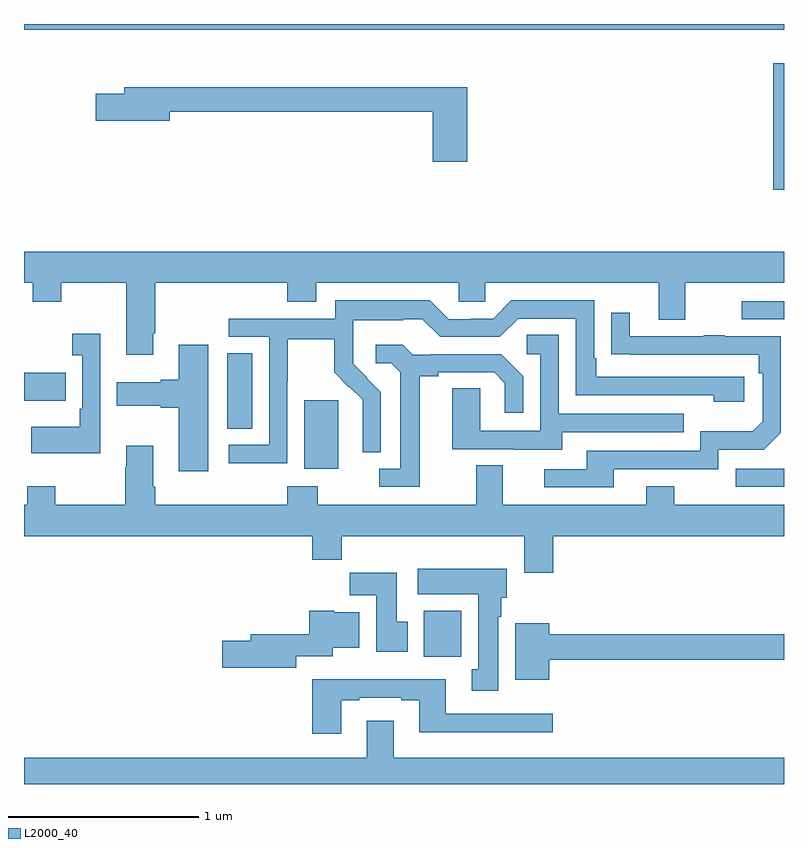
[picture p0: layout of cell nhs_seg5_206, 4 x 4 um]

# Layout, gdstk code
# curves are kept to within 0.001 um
import gdstk
lib = gdstk.Library(unit=1e-6, precision=1e-09)
def R(c, l, rs):  # rectangles x0, y0, x1, y1
    for r in rs: c.add(gdstk.rectangle(r[:2], r[2:], *l))
def P(c, l, *ps):  # polygons
    for p in ps: c.add(gdstk.Polygon(p, *l))
L2000_40 = (2000, 40)

nhs_seg5_206 = lib.new_cell('nhs_seg5_206')
R(nhs_seg5_206, L2000_40, [(125.105,845.468,125.302,845.71), (126.747,846.363,127,846.459), (124.475,846.458,124.654,846.819), (124.07,846.67,124.201,847.067), (123,846.815,123.221,846.963), (126.777,847.245,127,847.341), (126.944,847.926,127,848.593), (123,848.768,127,848.799)])
P(nhs_seg5_206, L2000_40, [(125.333,848.467),(123.527,848.467),(123.527,848.433),(123.378,848.433),(123.378,848.291),(123.766,848.291),(123.766,848.338),(125.15,848.338),(125.15,848.073),(125.333,848.073)],
  [(123.679,847.171),(123.692,847.171),(123.692,847.436),(124.385,847.436),(124.385,847.337),(124.537,847.337),(124.537,847.436),(125.289,847.436),(125.289,847.338),(125.427,847.338),(125.427,847.436),(126.341,847.436),(126.341,847.242),(126.481,847.242),(126.481,847.436),(127,847.436),(127,847.6),(123,847.6),(123,847.436),(123.047,847.436),(123.047,847.337),(123.195,847.337),(123.195,847.436),(123.539,847.436),(123.539,847.059),(123.679,847.059)],
  [(124.386,846.916),(124.389,846.916),(124.389,847.14),(124.633,847.14),(124.633,846.965),(124.71,846.888),(124.713,846.891),(124.784,846.821),(124.784,846.698),(124.782,846.698),(124.782,846.544),(124.878,846.544),(124.878,846.862),(124.732,847.01),(124.732,847.107),(124.734,847.107),(124.734,847.241),(124.997,847.241),(124.997,847.245),(125.097,847.245),(125.19,847.152),(125.505,847.152),(125.601,847.248),(125.904,847.248),(125.904,846.846),(126.629,846.846),(126.629,846.812),(126.79,846.812),(126.79,846.942),(126.013,846.942),(126.013,847.039),(126,847.039),(126,847.344),(125.565,847.344),(125.469,847.248),(125.351,847.248),(125.351,847.245),(125.235,847.245),(125.135,847.345),(124.638,847.345),(124.638,847.248),(124.077,847.248),(124.077,847.152),(124.29,847.152),(124.29,846.585),(124.077,846.585),(124.077,846.487),(124.386,846.487)],
  [(126.103,846.456),(126.654,846.456),(126.654,846.558),(126.894,846.558),(126.984,846.648),(126.984,847.155),(126.689,847.155),(126.689,847.16),(126.577,847.16),(126.577,847.155),(126.187,847.155),(126.187,847.279),(126.091,847.279),(126.091,847.06),(126.868,847.059),(126.868,846.962),(126.888,846.962),(126.888,846.708),(126.835,846.655),(126.558,846.655),(126.558,846.552),(125.963,846.552),(125.963,846.456),(125.739,846.456),(125.739,846.36),(126.103,846.36)],
  [(123.402,847.168),(123.255,847.168),(123.255,847.055),(123.306,847.055),(123.306,846.775),(123.294,846.775),(123.294,846.679),(123.037,846.679),(123.037,846.539),(123.402,846.539)],
  [(125.833,846.651),(126.473,846.651),(126.473,846.747),(125.814,846.747),(125.814,847.163),(125.646,847.163),(125.646,847.062),(125.718,847.062),(125.718,846.657),(125.4,846.657),(125.4,846.881),(125.255,846.881),(125.255,846.561),(125.579,846.561),(125.579,846.557),(125.833,846.557)],
  [(123.97,847.111),(123.815,847.111),(123.815,846.926),(123.719,846.926),(123.719,846.913),(123.489,846.913),(123.489,846.791),(123.719,846.791),(123.719,846.779),(123.815,846.779),(123.815,846.444),(123.97,846.444)],
  [(125.083,846.944),(125.179,846.944),(125.179,846.966),(125.474,846.966),(125.531,846.909),(125.531,846.753),(125.628,846.753),(125.628,846.946),(125.512,847.062),(125.14,847.062),(125.14,847.059),(125.046,847.059),(124.994,847.111),(124.851,847.111),(124.851,847.014),(124.932,847.014),(124.979,846.967),(124.979,846.459),(124.869,846.459),(124.869,846.363),(125.083,846.363)],
  [(125.786,846.104),(127,846.104),(127,846.268),(126.423,846.268),(126.423,846.367),(126.275,846.367),(126.275,846.268),(125.521,846.268),(125.521,846.476),(125.381,846.476),(125.381,846.268),(124.545,846.268),(124.545,846.367),(124.385,846.367),(124.385,846.268),(123.692,846.268),(123.692,846.364),(123.679,846.364),(123.679,846.58),(123.539,846.58),(123.539,846.467),(123.532,846.467),(123.532,846.268),(123.165,846.268),(123.165,846.367),(123.018,846.367),(123.018,846.268),(123,846.268),(123,846.104),(124.517,846.104),(124.517,845.98),(124.673,845.98),(124.673,846.104),(125.633,846.104),(125.633,845.91),(125.786,845.91)],
  [(125.497,845.678),(125.512,845.678),(125.512,845.778),(125.542,845.778),(125.542,845.932),(125.073,845.932),(125.073,845.798),(125.39,845.798),(125.39,845.402),(125.357,845.402),(125.357,845.289),(125.497,845.289)],
  [(125.02,845.652),(124.963,845.652),(124.963,845.911),(124.714,845.911),(124.714,845.792),(124.853,845.792),(124.853,845.496),(125.02,845.496)],
  [(124.432,845.472),(124.624,845.472),(124.624,845.516),(124.765,845.516),(124.765,845.704),(124.632,845.704),(124.632,845.71),(124.502,845.71),(124.502,845.588),(124.193,845.588),(124.193,845.552),(124.044,845.552),(124.044,845.41),(124.432,845.41)],
  [(125.764,845.452),(127,845.452),(127,845.588),(125.764,845.588),(125.764,845.644),(125.585,845.644),(125.585,845.348),(125.764,845.348)],
  [(124.669,845.241),(124.765,845.241),(124.765,845.253),(124.985,845.253),(124.985,845.241),(125.081,845.241),(125.081,845.072),(125.782,845.072),(125.782,845.169),(125.221,845.169),(125.221,845.35),(124.517,845.35),(124.517,845.064),(124.669,845.064)],
  [(127,844.936),(124.945,844.936),(124.945,845.131),(124.805,845.131),(124.805,844.936),(123,844.936),(123,844.799),(127,844.799)])

lib.write_gds('nhs_seg5_206.gds')
